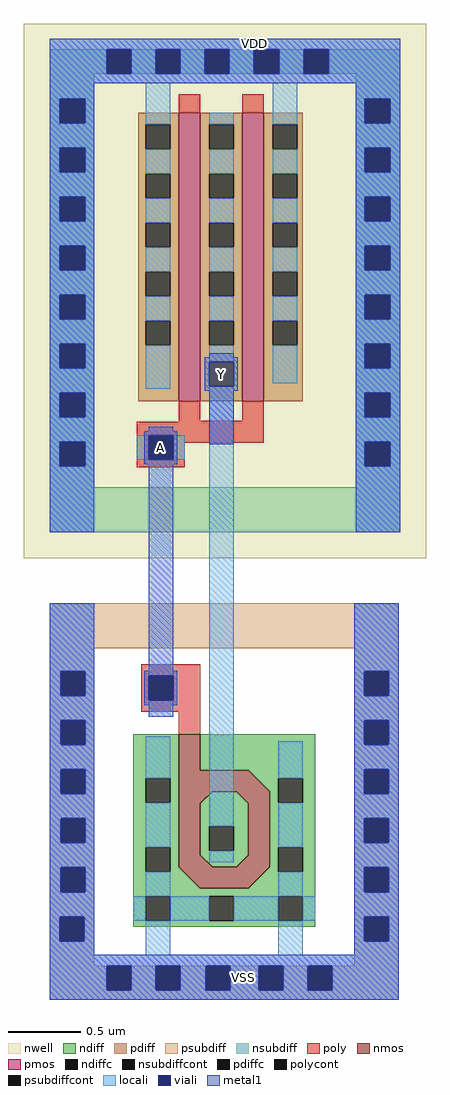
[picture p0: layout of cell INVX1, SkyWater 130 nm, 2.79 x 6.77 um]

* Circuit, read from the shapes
.subckt INVX1 A VDD VSS Y
XM1 VSS A Y VSS sky130_fd_pr__nfet_01v8 w=2.475 l=0.1487
XM2 Y A VDD VDD sky130_fd_pr__pfet_01v8 w=2 l=0.15 m=2
.ends

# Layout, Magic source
magic
tech sky130A
magscale 1 2
<< nwell >>
rect -159 612 399 1353
<< nmos >>
rect 56 318 86 368
rect 56 288 152 318
tri 152 288 182 318 sw
rect 56 184 86 288
tri 86 272 102 288 nw
tri 136 272 152 288 ne
tri 86 184 102 200 sw
tri 136 184 152 200 se
rect 152 184 182 288
tri 56 154 86 184 ne
rect 86 154 152 184
tri 152 154 182 184 nw
<< pmos >>
rect 56 829 86 1229
rect 144 829 174 1229
<< ndiff >>
rect -7 307 56 368
rect 86 318 245 368
rect -7 273 10 307
rect 44 273 56 307
tri 152 288 182 318 ne
rect 182 307 245 318
rect -7 211 56 273
rect -7 177 10 211
rect 44 177 56 211
tri 86 272 102 288 se
rect 102 272 136 288
tri 136 272 152 288 sw
rect 86 240 152 272
rect 86 206 98 240
rect 132 206 152 240
rect 86 200 152 206
tri 86 184 102 200 ne
rect 102 184 136 200
tri 136 184 152 200 nw
rect 182 273 194 307
rect 228 273 245 307
rect 182 211 245 273
rect -7 154 56 177
tri 56 154 86 184 sw
tri 152 154 182 184 se
rect 182 177 194 211
rect 228 177 245 211
rect 182 154 245 177
rect -7 143 245 154
rect -7 109 10 143
rect 44 109 98 143
rect 132 109 194 143
rect 228 109 245 143
rect -7 101 245 109
<< pdiff >>
rect 0 1213 56 1229
rect 0 1179 10 1213
rect 44 1179 56 1213
rect 0 1145 56 1179
rect 0 1111 10 1145
rect 44 1111 56 1145
rect 0 1077 56 1111
rect 0 1043 10 1077
rect 44 1043 56 1077
rect 0 1009 56 1043
rect 0 975 10 1009
rect 44 975 56 1009
rect 0 941 56 975
rect 0 907 10 941
rect 44 907 56 941
rect 0 829 56 907
rect 86 1213 144 1229
rect 86 1179 98 1213
rect 132 1179 144 1213
rect 86 1145 144 1179
rect 86 1111 98 1145
rect 132 1111 144 1145
rect 86 1077 144 1111
rect 86 1043 98 1077
rect 132 1043 144 1077
rect 86 1009 144 1043
rect 86 975 98 1009
rect 132 975 144 1009
rect 86 941 144 975
rect 86 907 98 941
rect 132 907 144 941
rect 86 829 144 907
rect 174 1213 228 1229
rect 174 1179 186 1213
rect 220 1179 228 1213
rect 174 1145 228 1179
rect 174 1111 186 1145
rect 220 1111 228 1145
rect 174 1077 228 1111
rect 174 1043 186 1077
rect 220 1043 228 1077
rect 174 1009 228 1043
rect 174 975 186 1009
rect 220 975 228 1009
rect 174 941 228 975
rect 174 907 186 941
rect 220 907 228 941
rect 174 829 228 907
<< ndiffc >>
rect 10 273 44 307
rect 10 177 44 211
rect 98 206 132 240
rect 194 273 228 307
rect 194 177 228 211
rect 10 109 44 143
rect 98 109 132 143
rect 194 109 228 143
<< pdiffc >>
rect 10 1179 44 1213
rect 10 1111 44 1145
rect 10 1043 44 1077
rect 10 975 44 1009
rect 10 907 44 941
rect 98 1179 132 1213
rect 98 1111 132 1145
rect 98 1043 132 1077
rect 98 975 132 1009
rect 98 907 132 941
rect 186 1179 220 1213
rect 186 1111 220 1145
rect 186 1043 220 1077
rect 186 975 220 1009
rect 186 907 220 941
<< psubdiff >>
rect -123 487 361 549
rect -123 455 -61 487
rect -123 421 -108 455
rect -74 421 -61 455
rect -123 387 -61 421
rect -123 353 -108 387
rect -74 353 -61 387
rect 299 455 361 487
rect 299 421 313 455
rect 347 421 361 455
rect 299 387 361 421
rect -123 319 -61 353
rect -123 285 -108 319
rect -74 285 -61 319
rect -123 251 -61 285
rect -123 217 -108 251
rect -74 217 -61 251
rect -123 183 -61 217
rect -123 149 -108 183
rect -74 149 -61 183
rect -123 115 -61 149
rect -123 81 -109 115
rect -75 81 -61 115
rect 299 353 313 387
rect 347 353 361 387
rect 299 319 361 353
rect 299 285 313 319
rect 347 285 361 319
rect 299 251 361 285
rect 299 217 313 251
rect 347 217 361 251
rect 299 183 361 217
rect 299 149 313 183
rect 347 149 361 183
rect 299 115 361 149
rect -123 47 -61 81
rect 299 81 313 115
rect 347 81 361 115
rect 299 47 361 81
rect -123 13 -44 47
rect -10 13 24 47
rect 58 13 93 47
rect 127 13 167 47
rect 201 13 235 47
rect 269 13 361 47
rect -123 0 361 13
<< nsubdiff >>
rect -123 1283 -44 1317
rect -10 1283 24 1317
rect 58 1283 92 1317
rect 126 1283 160 1317
rect 195 1283 229 1317
rect 264 1283 363 1317
rect -123 1249 -61 1283
rect -123 1215 -109 1249
rect -74 1215 -61 1249
rect 301 1249 363 1283
rect -123 1181 -61 1215
rect -123 1147 -109 1181
rect -74 1147 -61 1181
rect -123 1113 -61 1147
rect -123 1079 -109 1113
rect -74 1079 -61 1113
rect -123 1045 -61 1079
rect -123 1011 -109 1045
rect -74 1011 -61 1045
rect -123 977 -61 1011
rect -123 943 -109 977
rect -74 943 -61 977
rect -123 909 -61 943
rect -123 875 -109 909
rect -74 875 -61 909
rect -123 841 -61 875
rect -123 807 -109 841
rect -74 807 -61 841
rect 301 1215 314 1249
rect 349 1215 363 1249
rect 301 1181 363 1215
rect 301 1147 314 1181
rect 349 1147 363 1181
rect 301 1113 363 1147
rect 301 1079 314 1113
rect 349 1079 363 1113
rect 301 1045 363 1079
rect 301 1011 314 1045
rect 349 1011 363 1045
rect 301 977 363 1011
rect 301 943 314 977
rect 349 943 363 977
rect 301 909 363 943
rect 301 875 314 909
rect 349 875 363 909
rect 301 841 363 875
rect -123 773 -61 807
rect -123 739 -109 773
rect -74 739 -61 773
rect -123 710 -61 739
rect 301 807 314 841
rect 349 807 363 841
rect 301 773 363 807
rect 301 739 314 773
rect 349 739 363 773
rect 301 710 363 739
rect -123 648 363 710
<< psubdiffcont >>
rect -108 421 -74 455
rect -108 353 -74 387
rect 313 421 347 455
rect -108 285 -74 319
rect -108 217 -74 251
rect -108 149 -74 183
rect -109 81 -75 115
rect 313 353 347 387
rect 313 285 347 319
rect 313 217 347 251
rect 313 149 347 183
rect 313 81 347 115
rect -44 13 -10 47
rect 24 13 58 47
rect 93 13 127 47
rect 167 13 201 47
rect 235 13 269 47
<< nsubdiffcont >>
rect -44 1283 -10 1317
rect 24 1283 58 1317
rect 92 1283 126 1317
rect 160 1283 195 1317
rect 229 1283 264 1317
rect -109 1215 -74 1249
rect -109 1147 -74 1181
rect -109 1079 -74 1113
rect -109 1011 -74 1045
rect -109 943 -74 977
rect -109 875 -74 909
rect -109 807 -74 841
rect 314 1215 349 1249
rect 314 1147 349 1181
rect 314 1079 349 1113
rect 314 1011 349 1045
rect 314 943 349 977
rect 314 875 349 909
rect -109 739 -74 773
rect 314 807 349 841
rect 314 739 349 773
<< poly >>
rect 56 1229 86 1255
rect 144 1229 174 1255
rect 56 802 86 829
rect 144 802 174 829
rect 56 801 174 802
rect -2 782 174 801
rect -2 748 14 782
rect 48 772 174 782
rect 48 748 64 772
rect -2 738 64 748
rect 4 449 86 465
rect 4 415 14 449
rect 48 415 86 449
rect 4 399 86 415
rect 56 368 86 399
<< polycont >>
rect 14 748 48 782
rect 14 415 48 449
<< locali >>
rect -123 1317 363 1332
rect -123 1283 -44 1317
rect -10 1283 24 1317
rect 58 1283 92 1317
rect 126 1283 160 1317
rect 195 1283 229 1317
rect 264 1283 363 1317
rect -123 1270 363 1283
rect -123 1249 -61 1270
rect -123 1215 -109 1249
rect -74 1215 -61 1249
rect -123 1181 -61 1215
rect -123 1147 -109 1181
rect -74 1147 -61 1181
rect -123 1113 -61 1147
rect -123 1079 -109 1113
rect -74 1079 -61 1113
rect -123 1045 -61 1079
rect -123 1011 -109 1045
rect -74 1011 -61 1045
rect -123 977 -61 1011
rect -123 943 -109 977
rect -74 943 -61 977
rect -123 909 -61 943
rect -123 875 -109 909
rect -74 875 -61 909
rect -123 841 -61 875
rect 10 1213 44 1270
rect 10 1145 44 1179
rect 10 1077 44 1111
rect 10 1009 44 1043
rect 10 941 44 975
rect 10 847 44 907
rect 98 1213 132 1229
rect 98 1145 132 1179
rect 98 1077 132 1111
rect 98 1009 132 1043
rect 98 941 132 975
rect 98 884 132 907
rect 186 1213 220 1270
rect 186 1145 220 1179
rect 186 1077 220 1111
rect 186 1009 220 1043
rect 186 941 220 975
rect 186 854 220 907
rect 301 1249 363 1270
rect 301 1215 314 1249
rect 349 1215 363 1249
rect 301 1181 363 1215
rect 301 1147 314 1181
rect 349 1147 363 1181
rect 301 1113 363 1147
rect 301 1079 314 1113
rect 349 1079 363 1113
rect 301 1045 363 1079
rect 301 1011 314 1045
rect 349 1011 363 1045
rect 301 977 363 1011
rect 301 943 314 977
rect 349 943 363 977
rect 301 909 363 943
rect 301 875 314 909
rect 349 875 363 909
rect -123 807 -109 841
rect -74 807 -61 841
rect -123 773 -61 807
rect -123 739 -109 773
rect -74 739 -61 773
rect -2 748 14 782
rect 48 748 64 782
rect -123 648 -61 739
rect -123 455 -61 549
rect -123 421 -108 455
rect -74 421 -61 455
rect -123 387 -61 421
rect 14 449 48 465
rect 14 399 48 415
rect -123 353 -108 387
rect -74 353 -61 387
rect -123 319 -61 353
rect -123 285 -108 319
rect -74 285 -61 319
rect -123 251 -61 285
rect -123 217 -108 251
rect -74 217 -61 251
rect -123 183 -61 217
rect -123 149 -108 183
rect -74 149 -61 183
rect -123 115 -61 149
rect 10 307 44 365
rect 10 211 44 273
rect 98 240 132 850
rect 301 841 363 875
rect 301 807 314 841
rect 349 807 363 841
rect 301 773 363 807
rect 301 739 314 773
rect 349 739 363 773
rect 301 648 363 739
rect 299 455 361 549
rect 299 421 313 455
rect 347 421 361 455
rect 299 387 361 421
rect 98 190 132 206
rect 194 307 228 358
rect 194 211 228 273
rect 10 143 44 177
rect 194 143 228 177
rect 299 353 313 387
rect 347 353 361 387
rect 299 319 361 353
rect 299 285 313 319
rect 347 285 361 319
rect 299 251 361 285
rect 299 217 313 251
rect 347 217 361 251
rect 299 183 361 217
rect 299 149 313 183
rect 347 149 361 183
rect -123 81 -109 115
rect -75 81 -61 115
rect -7 109 10 143
rect 44 109 98 143
rect 132 109 194 143
rect 228 109 245 143
rect 299 115 361 149
rect -123 62 -61 81
rect 10 62 44 109
rect 194 62 228 109
rect 299 81 313 115
rect 347 81 361 115
rect 299 62 361 81
rect -123 47 361 62
rect -123 13 -44 47
rect -10 13 24 47
rect 58 13 93 47
rect 127 13 167 47
rect 201 13 235 47
rect 269 13 361 47
rect -123 0 361 13
<< viali >>
rect -44 1283 -10 1317
rect 24 1283 58 1317
rect 92 1283 126 1317
rect 160 1283 195 1317
rect 229 1283 264 1317
rect -109 1215 -74 1249
rect -109 1147 -74 1181
rect -109 1079 -74 1113
rect -109 1011 -74 1045
rect -109 943 -74 977
rect -109 875 -74 909
rect 98 850 132 884
rect 314 1215 349 1249
rect 314 1147 349 1181
rect 314 1079 349 1113
rect 314 1011 349 1045
rect 314 943 349 977
rect 314 875 349 909
rect -109 807 -74 841
rect -109 739 -74 773
rect 14 748 48 782
rect -108 421 -74 455
rect 14 415 48 449
rect -108 353 -74 387
rect -108 285 -74 319
rect -108 217 -74 251
rect -108 149 -74 183
rect 314 807 349 841
rect 314 739 349 773
rect 313 421 347 455
rect 313 353 347 387
rect 313 285 347 319
rect 313 217 347 251
rect 313 149 347 183
rect -109 81 -75 115
rect 313 81 347 115
rect -44 13 -10 47
rect 24 13 58 47
rect 93 13 127 47
rect 167 13 201 47
rect 235 13 269 47
<< metal1 >>
rect -123 1317 363 1332
rect -123 1283 -44 1317
rect -10 1283 24 1317
rect 58 1283 92 1317
rect 126 1283 160 1317
rect 195 1283 229 1317
rect 264 1283 363 1317
rect -123 1270 363 1283
rect -123 1249 -61 1270
rect -123 1215 -109 1249
rect -74 1215 -61 1249
rect -123 1181 -61 1215
rect -123 1147 -109 1181
rect -74 1147 -61 1181
rect -123 1113 -61 1147
rect -123 1079 -109 1113
rect -74 1079 -61 1113
rect -123 1045 -61 1079
rect -123 1011 -109 1045
rect -74 1011 -61 1045
rect -123 977 -61 1011
rect -123 943 -109 977
rect -74 943 -61 977
rect -123 909 -61 943
rect -123 875 -109 909
rect -74 875 -61 909
rect 301 1249 363 1270
rect 301 1215 314 1249
rect 349 1215 363 1249
rect 301 1181 363 1215
rect 301 1147 314 1181
rect 349 1147 363 1181
rect 301 1113 363 1147
rect 301 1079 314 1113
rect 349 1079 363 1113
rect 301 1045 363 1079
rect 301 1011 314 1045
rect 349 1011 363 1045
rect 301 977 363 1011
rect 301 943 314 977
rect 349 943 363 977
rect 301 909 363 943
rect 98 890 132 896
rect -123 841 -61 875
rect 92 884 138 890
rect 92 850 98 884
rect 132 850 138 884
rect 92 844 138 850
rect 301 875 314 909
rect 349 875 363 909
rect -123 807 -109 841
rect -74 807 -61 841
rect -123 773 -61 807
rect 14 788 48 794
rect -123 739 -109 773
rect -74 739 -61 773
rect 8 782 54 788
rect 8 748 14 782
rect 48 748 54 782
rect 98 770 132 844
rect 301 841 363 875
rect 301 807 314 841
rect 349 807 363 841
rect 301 773 363 807
rect 8 742 54 748
rect -123 648 -61 739
rect -123 455 -61 549
rect 14 456 48 742
rect 301 739 314 773
rect 349 739 363 773
rect 301 648 363 739
rect -123 421 -108 455
rect -74 421 -61 455
rect -123 387 -61 421
rect 8 449 54 456
rect 8 415 14 449
rect 48 415 54 449
rect 8 408 54 415
rect 299 455 361 549
rect 299 421 313 455
rect 347 421 361 455
rect 14 392 48 408
rect -123 353 -108 387
rect -74 353 -61 387
rect -123 319 -61 353
rect -123 285 -108 319
rect -74 285 -61 319
rect -123 251 -61 285
rect -123 217 -108 251
rect -74 217 -61 251
rect -123 183 -61 217
rect -123 149 -108 183
rect -74 149 -61 183
rect -123 115 -61 149
rect -123 81 -109 115
rect -75 81 -61 115
rect -123 62 -61 81
rect 299 387 361 421
rect 299 353 313 387
rect 347 353 361 387
rect 299 319 361 353
rect 299 285 313 319
rect 347 285 361 319
rect 299 251 361 285
rect 299 217 313 251
rect 347 217 361 251
rect 299 183 361 217
rect 299 149 313 183
rect 347 149 361 183
rect 299 115 361 149
rect 299 81 313 115
rect 347 81 361 115
rect 299 62 361 81
rect -123 47 361 62
rect -123 13 -44 47
rect -10 13 24 47
rect 58 13 93 47
rect 127 13 167 47
rect 201 13 235 47
rect 269 13 361 47
rect -123 0 361 13
<< labels >>
rlabel metal1 161 1325 161 1325 1 VDD
rlabel metal1 98 850 132 884 1 Y
rlabel metal1 14 748 48 782 1 A
rlabel metal1 146 31 146 31 1 VSS
<< end >>
